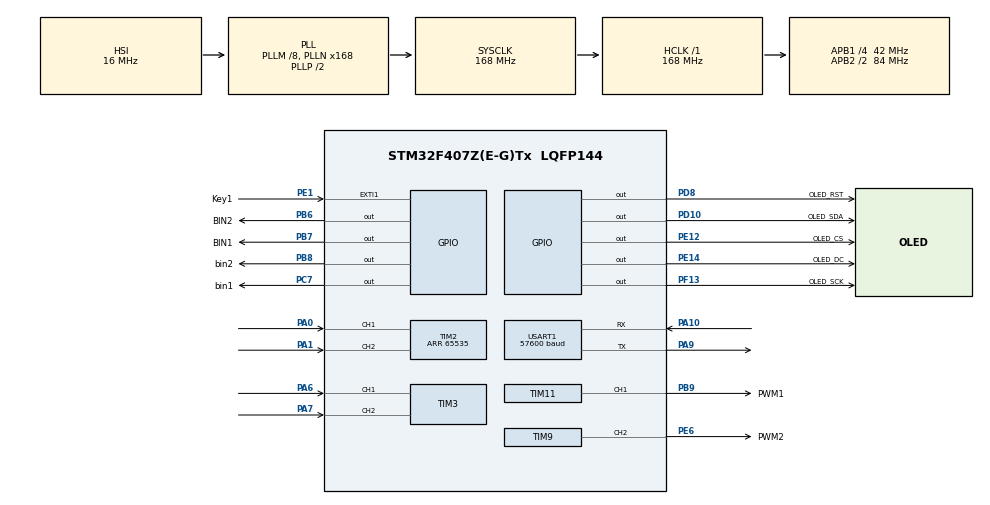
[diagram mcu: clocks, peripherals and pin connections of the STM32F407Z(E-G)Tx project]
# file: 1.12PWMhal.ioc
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Mcu.Family=STM32F4
Mcu.Name=STM32F407Z(E-G)Tx
Mcu.Package=LQFP144
NVIC.EXTI1_IRQn=true\:1\:1\:true\:false\:true\:true\:true\:true
NVIC.PriorityGroup=NVIC_PRIORITYGROUP_2
NVIC.RTC_WKUP_IRQn=true\:3\:0\:true\:false\:true\:true\:true\:true
NVIC.TIM1_BRK_TIM9_IRQn=true\:2\:0\:true\:false\:true\:true\:true\:true
NVIC.TIM1_TRG_COM_TIM11_IRQn=true\:2\:0\:true\:false\:true\:true\:true\:true
NVIC.TIM1_UP_TIM10_IRQn=true\:2\:0\:true\:false\:true\:true\:true\:true
NVIC.TIM2_IRQn=true\:1\:0\:true\:false\:true\:true\:true\:true
NVIC.TIM3_IRQn=true\:1\:0\:true\:false\:true\:true\:true\:true
NVIC.USART1_IRQn=true\:3\:0\:true\:false\:true\:true\:true\:true
PA0-WKUP.GPIO_Speed=GPIO_SPEED_FREQ_VERY_HIGH
PA0-WKUP.Signal=S_TIM2_CH1_ETR
PA1.GPIO_Speed=GPIO_SPEED_FREQ_VERY_HIGH
PA1.Signal=S_TIM2_CH2
PA10.Mode=Asynchronous
PA10.Signal=USART1_RX
PA13.Mode=Serial_Wire
PA13.Signal=SYS_JTMS-SWDIO
PA14.Mode=Serial_Wire
PA14.Signal=SYS_JTCK-SWCLK
PA6.GPIO_ModeDefaultPP=GPIO_MODE_AF_PP
PA6.GPIO_Speed=GPIO_SPEED_FREQ_VERY_HIGH
PA6.Signal=S_TIM3_CH1
PA7.GPIO_ModeDefaultPP=GPIO_MODE_AF_PP
PA7.GPIO_Speed=GPIO_SPEED_FREQ_VERY_HIGH
PA7.Signal=S_TIM3_CH2
PA9.Mode=Asynchronous
PA9.Signal=USART1_TX
PB6.GPIO_Label=BIN2
PB6.PinState=GPIO_PIN_RESET
PB6.Signal=GPIO_Output
PB7.GPIO_Label=BIN1
PB7.PinState=GPIO_PIN_SET
PB7.Signal=GPIO_Output
PB8.GPIO_Label=bin2
PB8.PinState=GPIO_PIN_SET
PB8.Signal=GPIO_Output
PB9.GPIO_Label=PWM1
PB9.GPIO_ModeDefaultPP=GPIO_MODE_AF_PP
PB9.GPIO_Speed=GPIO_SPEED_FREQ_VERY_HIGH
PB9.Signal=S_TIM11_CH1
PC7.GPIO_Label=bin1
PC7.PinState=GPIO_PIN_RESET
PC7.Signal=GPIO_Output
PD10.GPIO_Label=OLED_SDA
PD10.GPIO_Speed=GPIO_SPEED_FREQ_VERY_HIGH
PD10.PinState=GPIO_PIN_SET
PD10.Signal=GPIO_Output
PD8.GPIO_Label=OLED_RST
PD8.GPIO_Speed=GPIO_SPEED_FREQ_VERY_HIGH
PD8.PinState=GPIO_PIN_SET
PD8.Signal=GPIO_Output
PE1.GPIO_Label=Key1
PE1.GPIO_ModeDefaultEXTI=GPIO_MODE_IT_FALLING
PE1.GPIO_PuPd=GPIO_PULLUP
PE1.Signal=GPXTI1
PE12.GPIO_Label=OLED_CS
PE12.GPIO_Speed=GPIO_SPEED_FREQ_VERY_HIGH
PE12.PinState=GPIO_PIN_SET
PE12.Signal=GPIO_Output
PE14.GPIO_Label=OLED_DC
PE14.GPIO_Speed=GPIO_SPEED_FREQ_VERY_HIGH
PE14.PinState=GPIO_PIN_SET
PE14.Signal=GPIO_Output
PE6.GPIO_Label=PWM2
PE6.GPIO_Speed=GPIO_SPEED_FREQ_VERY_HIGH
PE6.Signal=S_TIM9_CH2
PF13.GPIO_Label=OLED_SCK
PF13.GPIO_Speed=GPIO_SPEED_FREQ_VERY_HIGH
PF13.PinState=GPIO_PIN_SET
PF13.Signal=GPIO_Output
ProjectManager.HeapSize=0x200
ProjectManager.StackSize=0x400
ProjectManager.TargetToolchain=MDK-ARM V5.32
RCC.48MHZClocksFreq_Value=84000000
RCC.AHBFreq_Value=168000000
RCC.APB1CLKDivider=RCC_HCLK_DIV4
RCC.APB1Freq_Value=42000000
RCC.APB1TimFreq_Value=84000000
RCC.APB2CLKDivider=RCC_HCLK_DIV2
RCC.APB2Freq_Value=84000000
RCC.APB2TimFreq_Value=168000000
RCC.CortexFreq_Value=168000000
RCC.HCLKFreq_Value=168000000
RCC.HSE_VALUE=25000000
RCC.HSI_VALUE=16000000
RCC.LSE_VALUE=32768
RCC.PLLM=8
RCC.PLLN=168
RCC.SYSCLKFreq_VALUE=168000000
RCC.SYSCLKSource=RCC_SYSCLKSOURCE_PLLCLK
RCC.VCOOutputFreq_Value=336000000
RTC.WakeUpClock=RTC_WAKEUPCLOCK_CK_SPRE_16BITS
SH.S_TIM11_CH1.0=TIM11_CH1,PWM Generation1 CH1
SH.S_TIM2_CH1_ETR.0=TIM2_CH1,Encoder_Interface
SH.S_TIM2_CH2.0=TIM2_CH2,Encoder_Interface
SH.S_TIM3_CH1.0=TIM3_CH1,Encoder_Interface
SH.S_TIM3_CH2.0=TIM3_CH2,Encoder_Interface
SH.S_TIM9_CH2.0=TIM9_CH2,PWM Generation2 CH2
TIM1.AutoReloadPreload=TIM_AUTORELOAD_PRELOAD_ENABLE
TIM1.Period=999
TIM1.Prescaler=16799
TIM11.AutoReloadPreload=TIM_AUTORELOAD_PRELOAD_DISABLE
TIM11.Channel=TIM_CHANNEL_1
TIM11.Period=999
TIM11.Prescaler=167
TIM11.Pulse=0
TIM2.AutoReloadPreload=TIM_AUTORELOAD_PRELOAD_ENABLE
TIM2.EncoderMode=TIM_ENCODERMODE_TI12
TIM2.IC1Filter=5
TIM2.IC1Polarity=TIM_ICPOLARITY_RISING
TIM2.IC2Filter=5
TIM2.IC2Polarity=TIM_ICPOLARITY_RISING
TIM2.Period=65535
TIM3.AutoReloadPreload=TIM_AUTORELOAD_PRELOAD_ENABLE
TIM3.EncoderMode=TIM_ENCODERMODE_TI12
TIM3.IC1Filter=5
TIM3.IC1Polarity=TIM_ICPOLARITY_RISING
TIM3.IC2Filter=5
TIM3.IC2Polarity=TIM_ICPOLARITY_FALLING
TIM3.IC2Prescaler=TIM_ICPSC_DIV1
TIM9.AutoReloadPreload=TIM_AUTORELOAD_PRELOAD_DISABLE
TIM9.Channel-PWM\ Generation2\ CH2=TIM_CHANNEL_2
TIM9.OCMode_PWM-PWM\ Generation2\ CH2=TIM_OCMODE_PWM1
TIM9.Period=999
TIM9.Prescaler=167
USART1.BaudRate=57600
USART1.VirtualMode=VM_ASYNC
VP_RTC_VS_RTC_Activate.Mode=RTC_Enabled
VP_RTC_VS_RTC_Calendar.Mode=RTC_Calendar
VP_RTC_VS_RTC_WakeUp_intern.Mode=WakeUp
VP_TIM11_VS_ClockSourceINT.Mode=Enable_Timer
VP_TIM1_VS_ClockSourceINT.Mode=Internal
VP_TIM9_VS_ClockSourceINT.Mode=Internal
board=custom

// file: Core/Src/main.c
/* USER CODE BEGIN Header */
/**
  ******************************************************************************
  * @file           : main.c
  * @brief          : Main program body
  ******************************************************************************
  * @attention
  *
  * Copyright (c) 2025 STMicroelectronics.
  * All rights reserved.
  *
  * This software is licensed under terms that can be found in the LICENSE file
  * in the root directory of this software component.
  * If no LICENSE file comes with this software, it is provided AS-IS.
  *
  ******************************************************************************
  */
/* USER CODE END Header */
#include "main.h"
#include "rtc.h"
#include "tim.h"
#include "usart.h"
#include "gpio.h"

/* USER CODE BEGIN Includes */
#include "OLED.h"
/* USER CODE END Includes */

/* USER CODE BEGIN PV */
uint8_t out_buffer[5];
float duty[2];
int32_t current_total[2];
int32_t pre_total[2];
float rpm[2] = {0.0f};
float pre_rpm[2]={0.0f};
uint32_t last_key_time = 0;
/* USER CODE END PV */

void SystemClock_Config(void);

/* USER CODE BEGIN 0 */
typedef struct {
    float Kp;           // 比例系数
    float Ki;           // 积分系数
    float Kd;           // 微分系数
    float Ts;           // 采样时间(s)
    float integral;      // 积分项
    float prev_error;    // 上次误差
    float max_output;    // 输出限幅
    float max_integral;  // 积分限幅
	  float prev_d;
} PID_Controller;
typedef struct {
    float Kp;           // 比例系数
    float Ki;           // 积分系数
    float Kd;           // 微分系数
    float Ts;           // 采样时间(s)
    float integral;      // 积分项
    float prev_straight_error;    // 上次误差
    float max_output;    // 输出限幅
    float max_integral;  // 积分限幅
	  float prev_d;
} PID_Correct;
/* 全局变量 --------------------------------------------------------*/
PID_Controller left_motor_pid;     // PID控制器实例
PID_Controller right_motor_pid;     // PID控制器实例
PID_Correct correct_pid;    //修正实例
float target_rpm[2];    // 目标转速 0为左轮B，1为右轮A
uint32_t pwm_max = 1000;       // PWM最大值对应100%占空比
float speed_time=0;//加速用时
float straight_error=0.0f;
float pre_straight_error=0.0f;
uint32_t correct;
float Kcp,Kci;
/* PID初始化 --------------------------------------------------------*/
void PID_Init(PID_Controller *pid, float Kp, float Ki, float Kd, float Ts) {
    pid->Kp = Kp;
    pid->Ki = Ki;
    pid->Kd = Kd;
    pid->Ts = Ts;
    pid->integral = 0.0f;
    pid->prev_error = 0.0f;
    pid->max_output = (float)pwm_max;
    pid->max_integral = pid->max_output * 0.5f; // 积分限幅为输出的50%
	  pid->prev_d=0.0f;
}
/* PID计算（带抗饱和和滤波）-----------------------------------------*/
float PID_Compute(PID_Controller *pid, float setpoint, float measurement) {
    // 计算误差
    float error = setpoint - measurement;

    // 比例项
    float P = pid->Kp * error;

    // 积分项（带限幅）
    pid->integral += error * pid->Ts;
    if(pid->integral > pid->max_integral) pid->integral = pid->max_integral;
    else if(pid->integral < -pid->max_integral) pid->integral = -pid->max_integral;
    float I = pid->Ki * pid->integral;

    // 微分项（带一阶低通滤波）
    float D = pid->Kd * (error - pid->prev_error) / pid->Ts;
    D = 0.2f * D + 0.8f * pid->prev_d; // 低通滤波系数
    pid->prev_d = D;
    pid->prev_error = error;

    // 计算输出
    float output = P + I + D;

    // 输出限幅
    if(output > pid->max_output) output = pid->max_output;
    else if(output < 0.0f) output = 0.0f;

    return output;
}
/* correct初始化 --------------------------------------------------------*/
void PIDC_Init(PID_Correct *pid, float Kp, float Ki, float Kd, float Ts) {
    pid->Kp = Kp;
    pid->Ki = Ki;
    pid->Kd = Kd;
    pid->Ts = Ts;
    pid->integral = 0.0f;
    pid->prev_straight_error = 0.0f;
    pid->max_output = 200.0f;
    pid->max_integral = pid->max_output * 0.5f; // 积分限幅为输出的50%
	  pid->prev_d=0.0f;
}
/* correct计算（带抗饱和和滤波）-----------------------------------------*/
float PIDC_Compute(PID_Correct *pid, float rpm[],float pre_rpm[]) {
    //计算correct
		straight_error+=((rpm[0]+pre_rpm[0])/2*pid->Ts-(rpm[1]+pre_rpm[1])/2*pid->Ts);

    // 比例项
    float P = pid->Kp * straight_error;

    // 积分项（带限幅）
    pid->integral += straight_error * pid->Ts;
    if(pid->integral > pid->max_integral) pid->integral = pid->max_integral;
    else if(pid->integral < -pid->max_integral) pid->integral = -pid->max_integral;
    float I = pid->Ki * pid->integral;

    // 微分项（带一阶低通滤波）
    float D = pid->Kd * (straight_error - pid->prev_straight_error) / pid->Ts;
    D = 0.2f * D + 0.8f * pid->prev_d; // 低通滤波系数
    pid->prev_d = D;
    pid->prev_straight_error = straight_error;

    // 计算输出
    float output = P + I + D;

    // 输出限幅
    if(output > pid->max_output) output = pid->max_output;
    else if(output < 0.0f) output = 0.0f;

    return output;
}
void HAL_TIM_PeriodElapsedCallback(TIM_HandleTypeDef *htim) {
  if (htim->Instance == TIM1) {
    // 读取当前编码器计数值
		if((TIM3->CR1 & TIM_CR1_DIR)&&(TIM2->CR1 & TIM_CR1_DIR)){
			current_total[0]-=(65535-TIM3->CNT);
		  TIM3->CNT=65535;
			current_total[1]-=(65535-TIM2->CNT);
		  TIM2->CNT=65535;
		}
		else{
		  current_total[0]+=TIM3->CNT;
			TIM3->CNT=0;
			current_total[1]+=TIM2->CNT;
			TIM2->CNT=0;
		}
    // 计算增量（处理溢出）
    int32_t delta_left = current_total[0]-pre_total[0];
		int32_t delta_right = current_total[1]-pre_total[1];
    // 计算转速（单位：RPM）
    // 假设编码器为4线正交编码，每转产生N个脉冲
    float PULSE_PER_REV[2];
		PULSE_PER_REV[0]=500;
		PULSE_PER_REV[1]=1500;
			 // 根据实际编码器参数修改
    const float SAMPLE_TIME = 0.1f;      // 定时中断周期（秒）

    rpm[0] = (delta_left / PULSE_PER_REV[0]) * (60.0f / SAMPLE_TIME);
		rpm[1] = (delta_right / PULSE_PER_REV[1]) * (60.0f / SAMPLE_TIME);
		rpm[0]=-rpm[0];
		rpm[1]=-rpm[1];
    OLED_ShowFloatNum(31,16,rpm[0],3,1,OLED_6X8);
		OLED_ShowFloatNum(31,24,rpm[1],3,1,OLED_6X8);
    // 更新上一次计数值
    pre_total[0] =current_total[0];
		pre_total[1] =current_total[1];

		rpm[0]=(rpm[0]>=0)?rpm[0]:-rpm[0];
		rpm[1]=(rpm[1]>=0)?rpm[1]:-rpm[1];
		//correct计算
		correct=PIDC_Compute(&correct_pid,rpm,pre_rpm);
		// PID计算
    float pwm_left = PID_Compute(&left_motor_pid, target_rpm[0], rpm[0]);
		float pwm_right = PID_Compute(&right_motor_pid, target_rpm[1], rpm[1]);
		// 更新PWM输出
    __HAL_TIM_SET_COMPARE(&htim11, TIM_CHANNEL_1, (uint32_t)pwm_left);
		__HAL_TIM_SET_COMPARE(&htim9, TIM_CHANNEL_2, (uint32_t)pwm_right);
		duty[0]=pwm_left/10;
		OLED_ShowFloatNum(43,0,duty[0],2,4,OLED_6X8);
		duty[1]=pwm_right/10;
		OLED_ShowFloatNum(43,8,duty[1],2,4,OLED_6X8);
		pre_rpm[0]=rpm[0];
		pre_rpm[1]=rpm[1];
		OLED_ShowFloatNum(67,40,speed_time,1,1,OLED_6X8);
		OLED_Update();
  }
	else if(htim->Instance==TIM3){
		current_total[0] +=(TIM3->CR1 & TIM_CR1_DIR) ? -65536 :65536;
	}
	else if(htim->Instance==TIM2){
		current_total[1] +=(TIM2->CR1 & TIM_CR1_DIR) ? -65536 : 65536;
	}
}

void HAL_GPIO_EXTI_Callback(uint16_t GPIO_Pin){
if(HAL_GetTick() - last_key_time > 200) { // 200ms防抖
    last_key_time = HAL_GetTick();
	if(GPIO_Pin==Key1_Pin){
		HAL_GPIO_TogglePin(BIN2_GPIO_Port,BIN2_Pin);
		HAL_GPIO_TogglePin(BIN1_GPIO_Port,BIN1_Pin);
		HAL_GPIO_TogglePin(bin1_GPIO_Port,bin1_Pin);
		HAL_GPIO_TogglePin(bin2_GPIO_Port,bin2_Pin);
		left_motor_pid.Kp=(HAL_GPIO_ReadPin(BIN1_GPIO_Port,BIN1_Pin)==GPIO_PIN_SET)? 0.069 : 0.072f;
		right_motor_pid.Kp=(HAL_GPIO_ReadPin(BIN1_GPIO_Port,bin2_Pin)==GPIO_PIN_SET)? 0.295f : 0.3f;
		speed_time=0.0f;
	}
 }
}
/* USER CODE END 0 */

int main(void)
{

  /* MCU Configuration--------------------------------------------------------*/

  /* Reset of all peripherals, Initializes the Flash interface and the Systick. */
  HAL_Init();

  /* Configure the system clock */
  SystemClock_Config();

  /* Initialize all configured peripherals */
  MX_GPIO_Init();
  MX_TIM11_Init();
  MX_RTC_Init();
  MX_USART1_UART_Init();
  MX_TIM3_Init();
  MX_TIM1_Init();
  MX_TIM9_Init();
  MX_TIM2_Init();
  /* USER CODE BEGIN 2 */
	// PID参数初始化（需根据实际系统调整）
	target_rpm[0]=2000.0f;
	target_rpm[1]=2000.0f;
  PID_Init(&left_motor_pid, 0.0f, 0.5f, 0.0f, 0.1f); // Kp=0.069, Ki=0.01, Kd=0.04,Ts=0.1;
	PID_Init(&right_motor_pid, 0.0f, 0.5f, 0.0f, 0.1f); // Kp=0.295, Ki=0.01, Kd=0.01,Ts=0.1;
	PIDC_Init(&correct_pid, 0.0f,0.5f,0.0f,0.1f);
	HAL_TIM_Encoder_Start(&htim3, TIM_CHANNEL_ALL);
	HAL_TIM_Encoder_Start(&htim2, TIM_CHANNEL_ALL);
	HAL_TIM_Base_Start_IT(&htim1);
	HAL_TIM_PWM_Start(&htim11,TIM_CHANNEL_1);
	HAL_TIM_PWM_Start(&htim9,TIM_CHANNEL_2);
	//OLED
	OLED_Init();
	OLED_ShowString(1,0,"LDuty:",OLED_6X8);
	OLED_ShowChar(67,0,'%',OLED_6X8);
	OLED_ShowString(1,8,"RDuty:",OLED_6X8);
	OLED_ShowChar(67,8,'%',OLED_6X8);
	OLED_ShowString(1,16,"LRPM:",OLED_6X8);
	OLED_ShowString(1,24,"RRPM:",OLED_6X8);
	OLED_ShowFloatNum(31,16,rpm[0],3,1,OLED_6X8);
	OLED_ShowFloatNum(31,24,rpm[1],3,1,OLED_6X8);
	OLED_ShowString(1,32,"MAX:170rpm",OLED_6X8);
	OLED_ShowString(1,40,"Speed Time:",OLED_6X8);
	OLED_Update();
	//USART
  HAL_UART_Receive_IT(&huart1, rxBuffer,RX_CMD_LEN);  //中断方式接收5个字节
  /* USER CODE END 2 */

  /* Infinite loop */
  /* USER CODE BEGIN WHILE */
  while (1)
  {
		/*__HAL_TIM_SET_COMPARE(&htim11, TIM_CHANNEL_1, 100);
		HAL_Delay(10);
		__HAL_TIM_SET_COMPARE(&htim9, TIM_CHANNEL_2, 100);
		HAL_Delay(10);*/
    /* USER CODE END WHILE */

  }
}

void SystemClock_Config(void)
{
  RCC_OscInitTypeDef RCC_OscInitStruct = {0};
  RCC_ClkInitTypeDef RCC_ClkInitStruct = {0};

  /** Configure the main internal regulator output voltage
  */
  __HAL_RCC_PWR_CLK_ENABLE();
  __HAL_PWR_VOLTAGESCALING_CONFIG(PWR_REGULATOR_VOLTAGE_SCALE1);

  /** Initializes the RCC Oscillators according to the specified parameters
  * in the RCC_OscInitTypeDef structure.
  */
  RCC_OscInitStruct.OscillatorType = RCC_OSCILLATORTYPE_HSI|RCC_OSCILLATORTYPE_LSI;
  RCC_OscInitStruct.HSIState = RCC_HSI_ON;
  RCC_OscInitStruct.HSICalibrationValue = RCC_HSICALIBRATION_DEFAULT;
  RCC_OscInitStruct.LSIState = RCC_LSI_ON;
  RCC_OscInitStruct.PLL.PLLState = RCC_PLL_ON;
  RCC_OscInitStruct.PLL.PLLSource = RCC_PLLSOURCE_HSI;
  RCC_OscInitStruct.PLL.PLLM = 8;
  RCC_OscInitStruct.PLL.PLLN = 168;
  RCC_OscInitStruct.PLL.PLLP = RCC_PLLP_DIV2;
  RCC_OscInitStruct.PLL.PLLQ = 4;
  if (HAL_RCC_OscConfig(&RCC_OscInitStruct) != HAL_OK)
  {
    Error_Handler();
  }

  /** Initializes the CPU, AHB and APB buses clocks
  */
  RCC_ClkInitStruct.ClockType = RCC_CLOCKTYPE_HCLK|RCC_CLOCKTYPE_SYSCLK
                              |RCC_CLOCKTYPE_PCLK1|RCC_CLOCKTYPE_PCLK2;
  RCC_ClkInitStruct.SYSCLKSource = RCC_SYSCLKSOURCE_PLLCLK;
  RCC_ClkInitStruct.AHBCLKDivider = RCC_SYSCLK_DIV1;
  RCC_ClkInitStruct.APB1CLKDivider = RCC_HCLK_DIV4;
  RCC_ClkInitStruct.APB2CLKDivider = RCC_HCLK_DIV2;

  if (HAL_RCC_ClockConfig(&RCC_ClkInitStruct, FLASH_LATENCY_5) != HAL_OK)
  {
    Error_Handler();
  }
}

void Error_Handler(void)
{
  __disable_irq();
  while (1)
  {
  }
}
